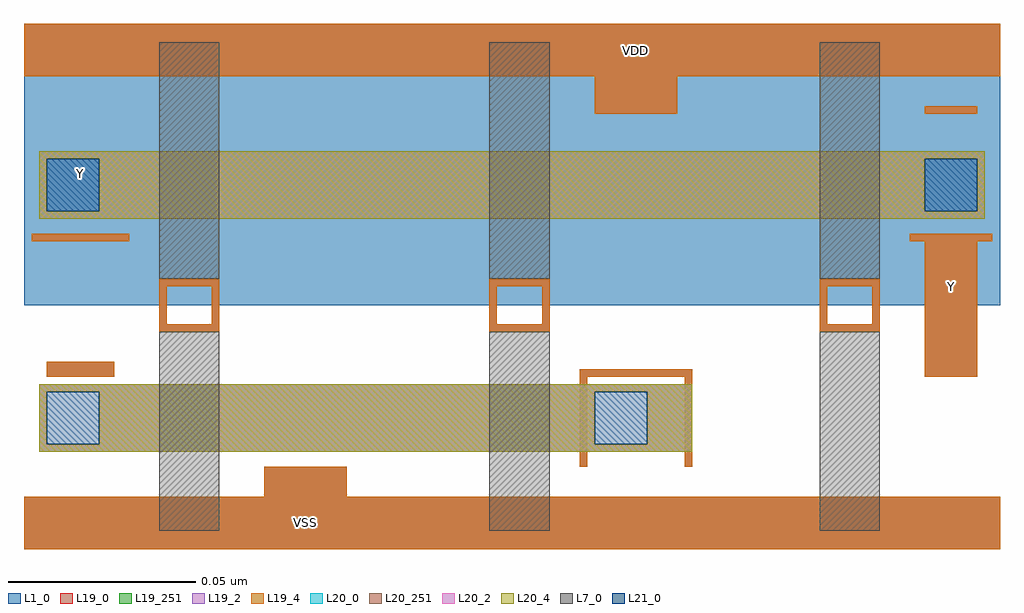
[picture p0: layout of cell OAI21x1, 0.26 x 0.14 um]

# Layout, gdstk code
import gdstk
lib = gdstk.Library(unit=1e-6, precision=1e-09)
def R(c, l, rs):  # rectangles x0, y0, x1, y1
    for r in rs: c.add(gdstk.rectangle(r[:2], r[2:], *l))
def A(c, l, x, y, w, h, nx, ny, dx, dy):  # array of equal rectangles
    R(c, l, [(x+i*dx, y+j*dy, x+i*dx+w, y+j*dy+h) for i in range(nx) for j in range(ny)])
L1_0 = (1, 0)
L7_0 = (7, 0)
L19_0 = (19, 0)
L19_2 = (19, 2)
L19_4 = (19, 4)
L19_251 = (19, 251)
L20_0 = (20, 0)
L20_2 = (20, 2)
L20_4 = (20, 4)
L20_251 = (20, 251)
L21_0 = (21, 0)

oai21x1 = lib.new_cell('OAI21x1')
R(oai21x1, L1_0, [(0,0.065,0.26,0.14)])
A(oai21x1, L7_0, 0.036, 0.005, 0.016, 0.053, 3, 1, 0.088, 0)
A(oai21x1, L7_0, 0.036, 0.072, 0.016, 0.063, 3, 1, 0.088, 0)
A(oai21x1, L19_0, 0.036, 0.058, 0.016, 0.002, 3, 2, 0.088, 0.012)
R(oai21x1, L19_0, [(0,0,0.26,0.014), (0.064,0.014,0.086,0.022), (0.148,0.022,0.15,0.046), (0.176,0.022,0.178,0.046), (0.006,0.046,0.024,0.05), (0.148,0.046,0.178,0.048), (0.24,0.046,0.254,0.082), (0.036,0.06,0.038,0.07), (0.05,0.06,0.052,0.07), (0.124,0.06,0.126,0.07), (0.138,0.06,0.14,0.07), (0.212,0.06,0.214,0.07), (0.226,0.06,0.228,0.07), (0.002,0.082,0.028,0.084), (0.236,0.082,0.258,0.084), (0.152,0.116,0.174,0.126), (0.24,0.116,0.254,0.118), (0,0.126,0.26,0.14)])
A(oai21x1, L19_2, 0.036, 0.058, 0.016, 0.002, 3, 2, 0.088, 0.012)
R(oai21x1, L19_2, [(0,0,0.26,0.014), (0.064,0.014,0.086,0.022), (0.148,0.022,0.15,0.046), (0.176,0.022,0.178,0.046), (0.006,0.046,0.024,0.05), (0.148,0.046,0.178,0.048), (0.24,0.046,0.254,0.082), (0.036,0.06,0.038,0.07), (0.05,0.06,0.052,0.07), (0.124,0.06,0.126,0.07), (0.138,0.06,0.14,0.07), (0.212,0.06,0.214,0.07), (0.226,0.06,0.228,0.07), (0.002,0.082,0.028,0.084), (0.236,0.082,0.258,0.084), (0.152,0.116,0.174,0.126), (0.24,0.116,0.254,0.118), (0,0.126,0.26,0.14)])
A(oai21x1, L19_4, 0.036, 0.058, 0.016, 0.002, 3, 2, 0.088, 0.012)
R(oai21x1, L19_4, [(0,0,0.26,0.014), (0.064,0.014,0.086,0.022), (0.148,0.022,0.15,0.046), (0.176,0.022,0.178,0.046), (0.006,0.046,0.024,0.05), (0.148,0.046,0.178,0.048), (0.24,0.046,0.254,0.082), (0.036,0.06,0.038,0.07), (0.05,0.06,0.052,0.07), (0.124,0.06,0.126,0.07), (0.138,0.06,0.14,0.07), (0.212,0.06,0.214,0.07), (0.226,0.06,0.228,0.07), (0.002,0.082,0.028,0.084), (0.236,0.082,0.258,0.084), (0.152,0.116,0.174,0.126), (0.24,0.116,0.254,0.118), (0,0.126,0.26,0.14)])
A(oai21x1, L19_251, 0.036, 0.058, 0.016, 0.002, 3, 2, 0.088, 0.012)
R(oai21x1, L19_251, [(0,0,0.26,0.014), (0.064,0.014,0.086,0.022), (0.148,0.022,0.15,0.046), (0.176,0.022,0.178,0.046), (0.006,0.046,0.024,0.05), (0.148,0.046,0.178,0.048), (0.24,0.046,0.254,0.082), (0.036,0.06,0.038,0.07), (0.05,0.06,0.052,0.07), (0.124,0.06,0.126,0.07), (0.138,0.06,0.14,0.07), (0.212,0.06,0.214,0.07), (0.226,0.06,0.228,0.07), (0.002,0.082,0.028,0.084), (0.236,0.082,0.258,0.084), (0.152,0.116,0.174,0.126), (0.24,0.116,0.254,0.118), (0,0.126,0.26,0.14)])
R(oai21x1, L20_0, [(0.004,0.026,0.178,0.028), (0.004,0.028,0.006,0.042), (0.02,0.028,0.152,0.042), (0.166,0.028,0.178,0.042), (0.004,0.042,0.178,0.044), (0.004,0.088,0.256,0.09), (0.004,0.09,0.006,0.104), (0.02,0.09,0.24,0.104), (0.254,0.09,0.256,0.104), (0.004,0.104,0.256,0.106)])
R(oai21x1, L20_2, [(0.004,0.026,0.178,0.028), (0.004,0.028,0.006,0.042), (0.02,0.028,0.152,0.042), (0.166,0.028,0.178,0.042), (0.004,0.042,0.178,0.044), (0.004,0.088,0.256,0.09), (0.004,0.09,0.006,0.104), (0.02,0.09,0.24,0.104), (0.254,0.09,0.256,0.104), (0.004,0.104,0.256,0.106)])
R(oai21x1, L20_4, [(0.004,0.026,0.178,0.028), (0.004,0.028,0.006,0.042), (0.02,0.028,0.152,0.042), (0.166,0.028,0.178,0.042), (0.004,0.042,0.178,0.044), (0.004,0.088,0.256,0.09), (0.004,0.09,0.006,0.104), (0.02,0.09,0.24,0.104), (0.254,0.09,0.256,0.104), (0.004,0.104,0.256,0.106)])
R(oai21x1, L20_251, [(0.004,0.026,0.178,0.028), (0.004,0.028,0.006,0.042), (0.02,0.028,0.152,0.042), (0.166,0.028,0.178,0.042), (0.004,0.042,0.178,0.044), (0.004,0.088,0.256,0.09), (0.004,0.09,0.006,0.104), (0.02,0.09,0.24,0.104), (0.254,0.09,0.256,0.104), (0.004,0.104,0.256,0.106)])
R(oai21x1, L21_0, [(0.006,0.028,0.02,0.042), (0.152,0.028,0.166,0.042), (0.006,0.09,0.02,0.104), (0.24,0.09,0.254,0.104)])
oai21x1.add(gdstk.Label('Y', (0.015,0.1), layer=19, texttype=0))
oai21x1.add(gdstk.Label('Y', (0.247,0.07), layer=19, texttype=0))
oai21x1.add(gdstk.Label('VSS', (0.075,0.007), layer=19, texttype=0))
oai21x1.add(gdstk.Label('VDD', (0.163,0.133), layer=19, texttype=0))

lib.write_gds('OAI21x1.gds')
